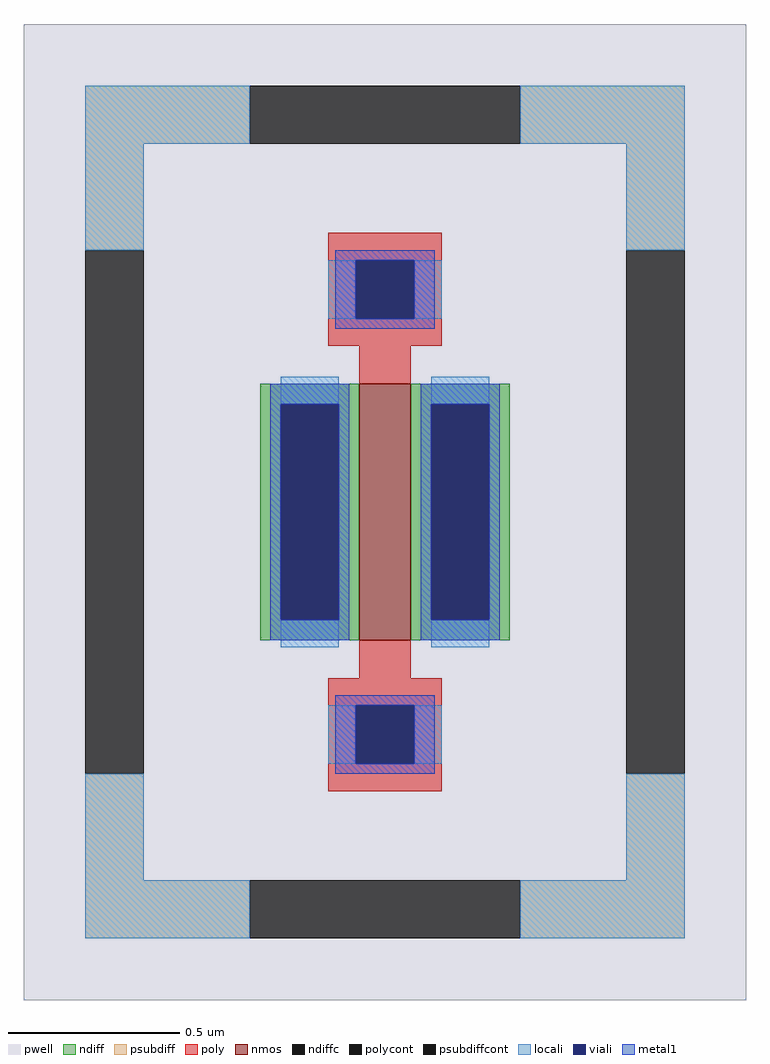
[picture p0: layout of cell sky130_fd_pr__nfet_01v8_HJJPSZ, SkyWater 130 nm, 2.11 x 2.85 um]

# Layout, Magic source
magic
tech sky130A
magscale 1 2
<< pwell >>
rect -211 -285 211 285
<< nmos >>
rect -15 -75 15 75
<< ndiff >>
rect -73 63 -15 75
rect -73 -63 -61 63
rect -27 -63 -15 63
rect -73 -75 -15 -63
rect 15 63 73 75
rect 15 -63 27 63
rect 61 -63 73 63
rect 15 -75 73 -63
<< ndiffc >>
rect -61 -63 -27 63
rect 27 -63 61 63
<< psubdiff >>
rect -175 215 -79 249
rect 79 215 175 249
rect -175 153 -141 215
rect 141 153 175 215
rect -175 -215 -141 -153
rect 141 -215 175 -153
rect -175 -249 -79 -215
rect 79 -249 175 -215
<< psubdiffcont >>
rect -79 215 79 249
rect -175 -153 -141 153
rect 141 -153 175 153
rect -79 -249 79 -215
<< poly >>
rect -33 147 33 163
rect -33 113 -17 147
rect 17 113 33 147
rect -33 97 33 113
rect -15 75 15 97
rect -15 -97 15 -75
rect -33 -113 33 -97
rect -33 -147 -17 -113
rect 17 -147 33 -113
rect -33 -163 33 -147
<< polycont >>
rect -17 113 17 147
rect -17 -147 17 -113
<< locali >>
rect -175 215 -79 249
rect 79 215 175 249
rect -175 153 -141 215
rect 141 153 175 215
rect -33 113 -17 147
rect 17 113 33 147
rect -61 63 -27 79
rect -61 -79 -27 -63
rect 27 63 61 79
rect 27 -79 61 -63
rect -33 -147 -17 -113
rect 17 -147 33 -113
rect -175 -215 -141 -153
rect 141 -215 175 -153
rect -175 -249 -79 -215
rect 79 -249 175 -215
<< viali >>
rect -17 113 17 147
rect -61 -63 -27 63
rect 27 -63 61 63
rect -17 -147 17 -113
<< metal1 >>
rect -29 147 29 153
rect -29 113 -17 147
rect 17 113 29 147
rect -29 107 29 113
rect -67 63 -21 75
rect -67 -63 -61 63
rect -27 -63 -21 63
rect -67 -75 -21 -63
rect 21 63 67 75
rect 21 -63 27 63
rect 61 -63 67 63
rect 21 -75 67 -63
rect -29 -113 29 -107
rect -29 -147 -17 -113
rect 17 -147 29 -113
rect -29 -153 29 -147
<< properties >>
string FIXED_BBOX -158 -232 158 232
string gencell sky130_fd_pr__nfet_01v8
string library sky130
string parameters w 0.75 l 0.150 m 1 nf 1 diffcov 100 polycov 100 guard 1 glc 1 grc 1 gtc 1 gbc 1 tbcov 100 rlcov 100 topc 1 botc 1 poverlap 0 doverlap 1 lmin 0.15 wmin 0.42 compatible {sky130_fd_pr__nfet_01v8 sky130_fd_pr__nfet_01v8_lvt  sky130_fd_bs_flash__special_sonosfet_star  sky130_fd_pr__nfet_g5v0d10v5 sky130_fd_pr__nfet_05v0_nvt  sky130_fd_pr__nfet_03v3_nvt} full_metal 1 viasrc 100 viadrn 100 viagate 100 viagb 0 viagr 0 viagl 0 viagt 0
<< end >>
